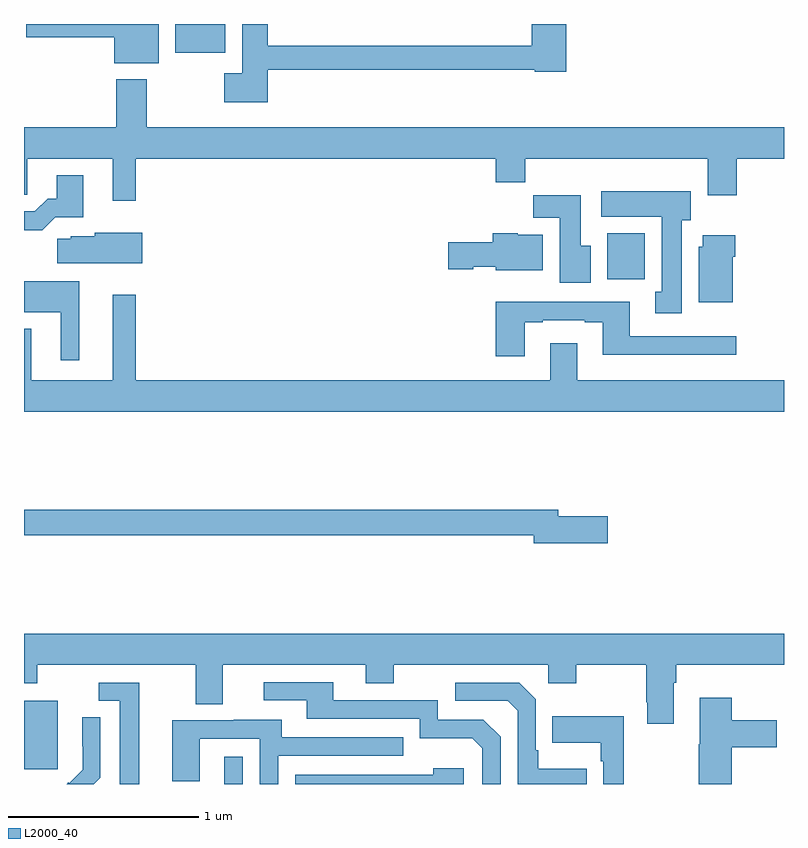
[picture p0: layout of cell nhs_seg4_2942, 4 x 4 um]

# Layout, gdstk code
import gdstk
lib = gdstk.Library(unit=1e-6, precision=1e-09)
def R(c, l, rs):  # rectangles x0, y0, x1, y1
    for r in rs: c.add(gdstk.rectangle(r[:2], r[2:], *l))
def P(c, l, *ps):  # polygons
    for p in ps: c.add(gdstk.Polygon(p, *l))
L2000_40 = (2000, 40)

nhs_seg4_2942 = lib.new_cell('nhs_seg4_2942')
R(nhs_seg4_2942, L2000_40, [(268.055,754.9,268.152,755.044), (267,754.977,267.178,755.338), (270.071,757.556,270.268,757.798), (267.797,758.75,268.06,758.9)])
P(nhs_seg4_2942, L2000_40, [(268.283,758.658),(269.688,758.658),(269.688,758.65),(269.855,758.65),(269.855,758.9),(269.672,758.9),(269.672,758.786),(268.283,758.786),(268.283,758.9),(268.148,758.9),(268.148,758.641),(268.053,758.641),(268.053,758.489),(268.283,758.489)],
  [(267.709,758.9),(267.012,758.9),(267.012,758.83),(267.476,758.83),(267.476,758.693),(267.709,758.693)],
  [(267.589,758.192),(269.483,758.192),(269.483,758.068),(269.639,758.068),(269.639,758.192),(270.599,758.192),(270.599,757.998),(270.752,757.998),(270.752,758.192),(271,758.192),(271,758.356),(267.645,758.356),(267.645,758.608),(267.485,758.608),(267.485,758.356),(267,758.356),(267,758.002),(267.018,758.002),(267.018,758.192),(267.467,758.192),(267.467,757.971),(267.589,757.971)],
  [(267.165,757.884),(267.313,757.884),(267.313,758.104),(267.173,758.104),(267.173,757.981),(267.124,757.981),(267.057,757.914),(267,757.914),(267,757.814),(267.095,757.814)],
  [(270.463,757.866),(270.508,757.866),(270.508,758.02),(270.039,758.02),(270.039,757.886),(270.356,757.886),(270.356,757.49),(270.323,757.49),(270.323,757.377),(270.463,757.377)],
  [(269.983,757.732),(269.929,757.732),(269.929,757.999),(269.68,757.999),(269.68,757.88),(269.819,757.88),(269.819,757.539),(269.983,757.539)],
  [(267.622,757.801),(267.372,757.801),(267.372,757.783),(267.246,757.783),(267.246,757.769),(267.174,757.769),(267.174,757.64),(267.622,757.64)],
  [(269.731,757.792),(269.598,757.792),(269.598,757.798),(269.468,757.798),(269.468,757.752),(269.232,757.752),(269.232,757.61),(269.364,757.61),(269.364,757.622),(269.484,757.622),(269.484,757.604),(269.731,757.604)],
  [(270.73,757.676),(270.743,757.676),(270.743,757.789),(270.572,757.789),(270.572,757.728),(270.551,757.728),(270.551,757.436),(270.73,757.436)],
  [(267.292,757.546),(267,757.546),(267,757.382),(267.194,757.382),(267.194,757.131),(267.292,757.131)],
  [(271,757.024),(269.911,757.024),(269.911,757.219),(269.771,757.219),(269.771,757.024),(267.589,757.024),(267.589,757.474),(267.467,757.474),(267.467,757.024),(267.037,757.024),(267.037,757.297),(267,757.297),(267,756.86),(271,756.86)],
  [(269.635,757.329),(269.731,757.329),(269.731,757.341),(269.951,757.341),(269.951,757.329),(270.047,757.329),(270.047,757.16),(270.748,757.16),(270.748,757.257),(270.187,757.257),(270.187,757.437),(269.723,757.437),(269.723,757.438),(269.483,757.438),(269.483,757.152),(269.635,757.152)],
  [(270.073,756.308),(269.812,756.308),(269.812,756.344),(267,756.344),(267,756.208),(269.684,756.208),(269.684,756.166),(270.073,756.166)],
  [(267,755.429),(267.069,755.429),(267.069,755.528),(267.905,755.528),(267.905,755.32),(268.045,755.32),(268.045,755.528),(268.799,755.528),(268.799,755.429),(268.947,755.429),(268.947,755.528),(269.76,755.528),(269.76,755.429),(269.907,755.429),(269.907,755.528),(270.274,755.528),(270.274,755.329),(270.281,755.329),(270.281,755.217),(270.421,755.217),(270.421,755.432),(270.434,755.432),(270.434,755.528),(271,755.528),(271,755.692),(267,755.692)],
  [(269.508,755.148),(269.418,755.238),(269.178,755.238),(269.178,755.34),(268.627,755.34),(268.627,755.436),(268.263,755.436),(268.263,755.34),(268.487,755.34),(268.487,755.244),(269.082,755.244),(269.082,755.141),(269.359,755.141),(269.412,755.088),(269.412,754.9),(269.508,754.9)],
  [(267.607,755.433),(267.393,755.433),(267.393,755.337),(267.503,755.337),(267.503,754.9),(267.607,754.9)],
  [(269.963,754.981),(269.707,754.981),(269.707,755.077),(269.694,755.077),(269.694,755.346),(269.607,755.433),(269.271,755.433),(269.271,755.337),(269.547,755.337),(269.598,755.286),(269.598,754.9),(269.963,754.9)],
  [(270.725,755.093),(270.961,755.093),(270.961,755.235),(270.725,755.235),(270.725,755.353),(270.557,755.353),(270.557,755.109),(270.55,755.109),(270.55,754.9),(270.725,754.9)],
  [(270.157,755.257),(269.779,755.257),(269.779,755.117),(270.036,755.117),(270.036,755.021),(270.048,755.021),(270.048,754.9),(270.157,754.9)],
  [(267.402,754.934),(267.402,755.252),(267.306,755.252),(267.306,755.098),(267.308,755.098),(267.308,754.976),(267.237,754.905),(267.234,754.908),(267.226,754.9),(267.368,754.9)],
  [(268.338,755.049),(268.997,755.049),(268.997,755.145),(268.357,755.145),(268.357,755.239),(268.103,755.239),(268.103,755.235),(267.779,755.235),(267.779,754.915),(267.924,754.915),(267.924,755.139),(268.242,755.139),(268.242,754.9),(268.338,754.9)],
  [(269.314,754.984),(269.153,754.984),(269.153,754.95),(268.428,754.95),(268.428,754.9),(269.314,754.9)])

lib.write_gds('nhs_seg4_2942.gds')
